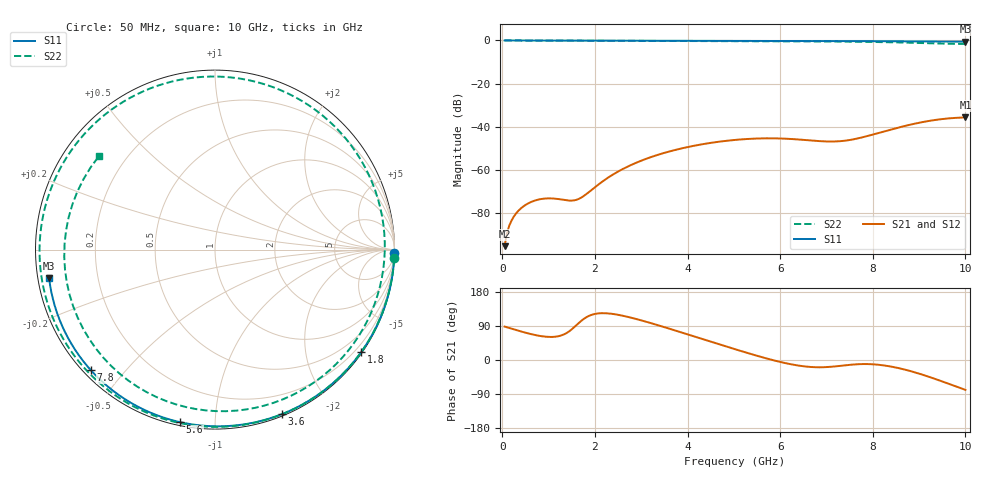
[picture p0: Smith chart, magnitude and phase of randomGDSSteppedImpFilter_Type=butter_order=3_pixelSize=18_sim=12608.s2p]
! freq	dB(S11)	phase(S11)	dB(S12)	phase(S12)
!  dB(S21)	phase(S21)	dB(S22)	phase(S22)
!S-par simulation data
#  GHz  S  DB  R 50
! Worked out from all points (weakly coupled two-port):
!   200 points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, 50 MHz to 10 GHz, reference 50 ohm
!   highest |S21| = -35.65 dB at 10 GHz (marker M1); lowest = -95.3 dB at 50 MHz (marker M2)
!   lowest |S11| = -0.6 dB at 10 GHz (marker M3), VSWR 31.17, Z = 1.62 - j4.24 ohm
!   |S11| at or under -10 dB: nowhere
!   |S22| runs from -1.6 to 0.0 dB; largest |S21 - S12| = 0
!   S11 on the Smith chart (normalised r, x): 50 MHz: open; 1.8 GHz: 0.03, -3.18; 3.6 GHz: 0.02, -1.49; 5.6 GHz: 0.02, -0.82; 7.8 GHz: 0.02, -0.41; 10 GHz: 0.03, -0.08
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0.05  -0.00 -1.0  -95.25 88.2  -95.25 88.2  -0.00 -2.8
0.3  -0.01 -5.9  -80.03 79.0  -80.03 79.0  -0.03 -16.8
0.6  -0.01 -11.8  -75.01 68.9  -75.01 68.9  -0.04 -33.4
0.95  -0.02 -18.6  -73.15 61.3  -73.15 61.3  -0.06 -52.4
1.5  -0.04 -29.2  -74.16 80.9  -74.16 80.9  -0.10 -81.0
1.75  -0.04 -34.0  -72.15 107.6  -72.15 107.6  -0.11 -93.4
1.8  -0.04 -34.9  -71.39 111.7  -71.39 111.7  -0.11 -95.9
2.65  -0.07 -50.8  -59.00 115.5  -59.00 115.5  -0.15 -135.9
3.4  -0.08 -64.3  -52.68 90.4  -52.68 90.4  -0.19 -169.5
3.6  -0.09 -67.8  -51.44 82.9  -51.44 82.9  -0.20 -178.4
4.3  -0.11 -79.9  -48.13 56.2  -48.13 56.2  -0.23 150.0
5.05  -0.14 -92.5  -46.01 27.6  -46.01 27.6  -0.28 114.3
5.6  -0.17 -101.4  -45.35 7.7  -45.35 7.7  -0.32 86.4
6.15  -0.20 -110.2  -45.52 -9.2  -45.52 -9.2  -0.37 56.9
6.7  -0.23 -118.8  -46.37 -18.7  -46.37 -18.7  -0.42 25.8
7.25  -0.27 -127.3  -46.70 -16.1  -46.70 -16.1  -0.50 -6.5
7.8  -0.32 -135.8  -44.72 -10.7  -44.72 -10.7  -0.63 -40.1
8.35  -0.37 -144.3  -41.49 -16.4  -41.49 -16.4  -0.82 -75.8
8.85  -0.42 -152.0  -38.80 -30.5  -38.80 -30.5  -1.07 -111.8
9.35  -0.48 -159.9  -36.81 -50.1  -36.81 -50.1  -1.37 -153.5
9.7  -0.52 -165.4  -35.98 -65.5  -35.98 -65.5  -1.55 172.8
10  -0.56 -170.3  -35.65 -78.7  -35.65 -78.7  -1.62 141.3
